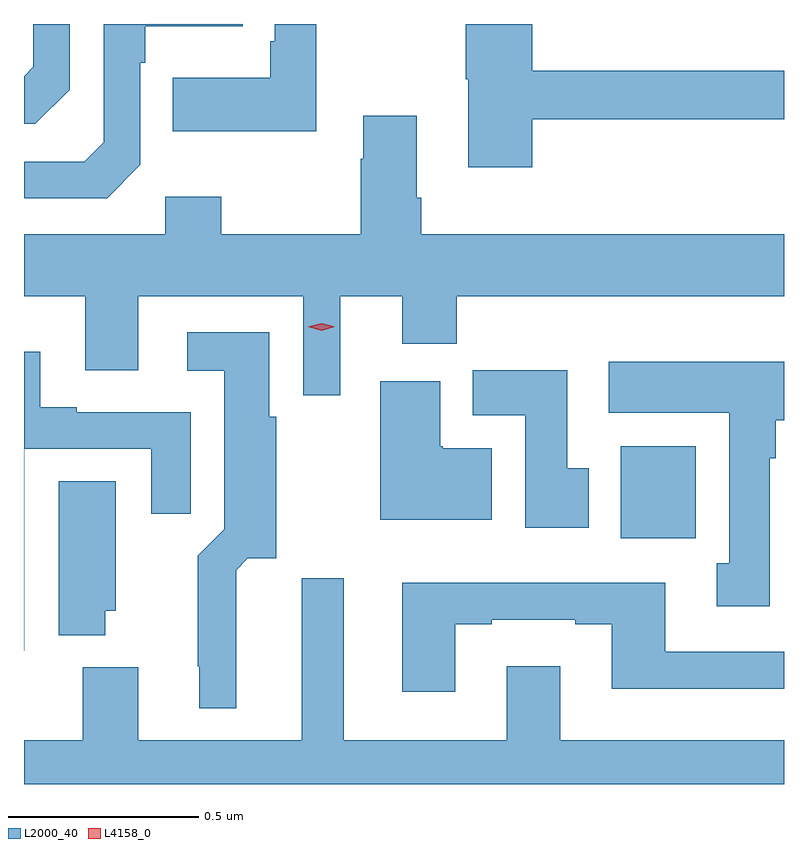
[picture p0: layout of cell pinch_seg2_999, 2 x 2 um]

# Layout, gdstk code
import gdstk
lib = gdstk.Library(unit=1e-6, precision=1e-09)
def R(c, l, rs):  # rectangles x0, y0, x1, y1
    for r in rs: c.add(gdstk.rectangle(r[:2], r[2:], *l))
def P(c, l, *ps):  # polygons
    for p in ps: c.add(gdstk.Polygon(p, *l))
L2000_40 = (2000, 40)
L4158_0 = (4158, 0)

pinch_seg2_999 = lib.new_cell('pinch_seg2_999')
R(pinch_seg2_999, L2000_40, [(119.111,629.684,119.308,629.926)])
P(pinch_seg2_999, L2000_40, [(118.309,631.037),(118.2,631.037),(118.2,630.991),(118.188,630.991),(118.188,630.895),(117.931,630.895),(117.931,630.755),(118.309,630.755)],
  [(118.877,630.786),(119.54,630.786),(119.54,630.914),(118.877,630.914),(118.877,631.037),(118.702,631.037),(118.702,630.891),(118.709,630.891),(118.709,630.66),(118.877,630.66)],
  [(117.846,630.666),(117.846,630.935),(117.859,630.935),(117.859,631.031),(118.115,631.031),(118.115,631.037),(117.75,631.037),(117.75,630.726),(117.699,630.675),(117.54,630.675),(117.54,630.579),(117.759,630.579)],
  [(117.66,630.864),(117.66,631.037),(117.564,631.037),(117.564,630.924),(117.54,630.9),(117.54,630.774),(117.57,630.774)],
  [(118.372,630.32),(118.535,630.32),(118.535,630.196),(118.679,630.196),(118.679,630.32),(119.54,630.32),(119.54,630.484),(118.586,630.484),(118.586,630.58),(118.573,630.58),(118.573,630.796),(118.433,630.796),(118.433,630.683),(118.426,630.683),(118.426,630.484),(118.059,630.484),(118.059,630.583),(117.912,630.583),(117.912,630.484),(117.54,630.484),(117.54,630.32),(117.701,630.32),(117.701,630.126),(117.841,630.126),(117.841,630.32),(118.275,630.32),(118.275,630.06),(118.372,630.06)],
  [(118.099,629.6),(118.129,629.631),(118.204,629.631),(118.204,630.003),(118.186,630.003),(118.186,630.226),(117.969,630.226),(117.969,630.125),(118.067,630.125),(118.067,629.708),(117.997,629.638),(117.997,629.347),(118.001,629.347),(118.001,629.237),(118.099,629.237)],
  [(117.541,629.919),(117.875,629.919),(117.875,629.748),(117.979,629.748),(117.979,630.015),(117.679,630.015),(117.679,630.028),(117.583,630.028),(117.583,630.175),(117.54,630.175),(117.54,629.388),(117.541,629.388)],
  [(119.503,629.894),(119.518,629.894),(119.518,629.994),(119.54,629.994),(119.54,630.148),(119.079,630.148),(119.079,630.014),(119.396,630.014),(119.396,629.618),(119.363,629.618),(119.363,629.505),(119.503,629.505)],
  [(119.026,629.868),(118.969,629.868),(118.969,630.126),(118.721,630.126),(118.721,630.008),(118.859,630.008),(118.859,629.712),(119.026,629.712)],
  [(118.771,629.92),(118.642,629.92),(118.642,629.926),(118.636,629.926),(118.636,630.097),(118.478,630.097),(118.478,629.732),(118.771,629.732)],
  [(117.754,629.493),(117.781,629.493),(117.781,629.834),(117.632,629.834),(117.632,629.429),(117.754,629.429)],
  [(119.54,629.152),(118.951,629.152),(118.951,629.347),(118.811,629.347),(118.811,629.152),(118.381,629.152),(118.381,629.578),(118.271,629.578),(118.271,629.152),(117.841,629.152),(117.841,629.344),(117.694,629.344),(117.694,629.152),(117.54,629.152),(117.54,629.037),(119.54,629.037)],
  [(118.675,629.457),(118.771,629.457),(118.771,629.469),(118.991,629.469),(118.991,629.457),(119.087,629.457),(119.087,629.288),(119.54,629.288),(119.54,629.385),(119.227,629.385),(119.227,629.566),(118.535,629.566),(118.535,629.28),(118.675,629.28)])
P(pinch_seg2_999, L4158_0, [(118.323,630.23),(118.287,630.24),(118.287,630.24),(118.287,630.24),(118.323,630.25),(118.358,630.24),(118.358,630.24),(118.358,630.24)])

lib.write_gds('pinch_seg2_999.gds')
